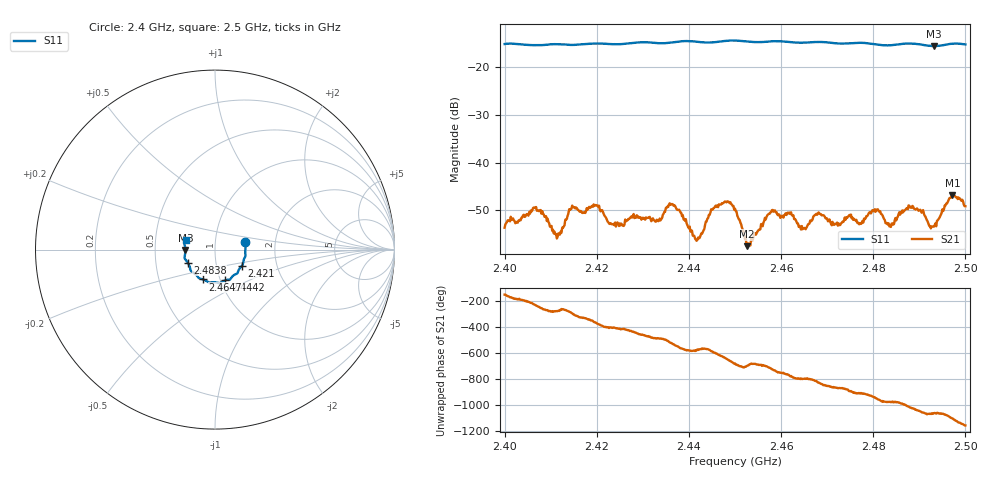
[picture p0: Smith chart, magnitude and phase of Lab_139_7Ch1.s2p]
# Hz S RI R 50
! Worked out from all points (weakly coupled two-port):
!   601 points, 2.4 GHz to 2.5 GHz, reference 50 ohm
!   highest |S21| = -46.77 dB at 2.4972 GHz (marker M1); lowest = -57.5 dB at 2.4525 GHz (marker M2)
!   lowest |S11| = -15.7 dB at 2.4932 GHz (marker M3), VSWR 1.40, Z = 35.8 - j0.101 ohm
!   |S11| at or under -10 dB: start of sweep to end of sweep
!   S12 and S22 are empty: the file has one direction only
!   S11 on the Smith chart (normalised r, x): 2.4 GHz: 1.40, +0.12; 2.421 GHz: 1.33, -0.24; 2.4442 GHz: 1.05, -0.37; 2.4647 GHz: 0.83, -0.28; 2.4838 GHz: 0.73, -0.11; 2.5 GHz: 0.72, +0.08
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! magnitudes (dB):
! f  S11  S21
! 2.4 GHz  -15.2  -53.6
! 2.4067 GHz  -15.5  -49.5
! 2.4115 GHz  -15.2  -55.5
! 2.4145 GHz  -15.4  -49.7
! 2.4167 GHz  -15.3  -50.3
! 2.421 GHz  -15.1  -50.0
! 2.4333 GHz  -15.0  -52.2
! 2.4363 GHz  -14.9  -48.7
! 2.4418 GHz  -14.7  -56.1
! 2.4442 GHz  -14.9  -51.6
! 2.45 GHz  -14.5  -49.6
! 2.4525 GHz  -14.7  -57.5
! 2.4582 GHz  -14.6  -49.9
! 2.4647 GHz  -14.9  -53.9
! 2.4667 GHz  -14.8  -52.1
! 2.4805 GHz  -15.3  -50.3
! 2.4833 GHz  -15.5  -52.7
! 2.4838 GHz  -15.5  -53.5
! 2.4882 GHz  -15.1  -49.3
! 2.4932 GHz  -15.7  -53.4
! 2.4972 GHz  -15.1  -46.8
! 2.5 GHz  -15.3  -49.1
